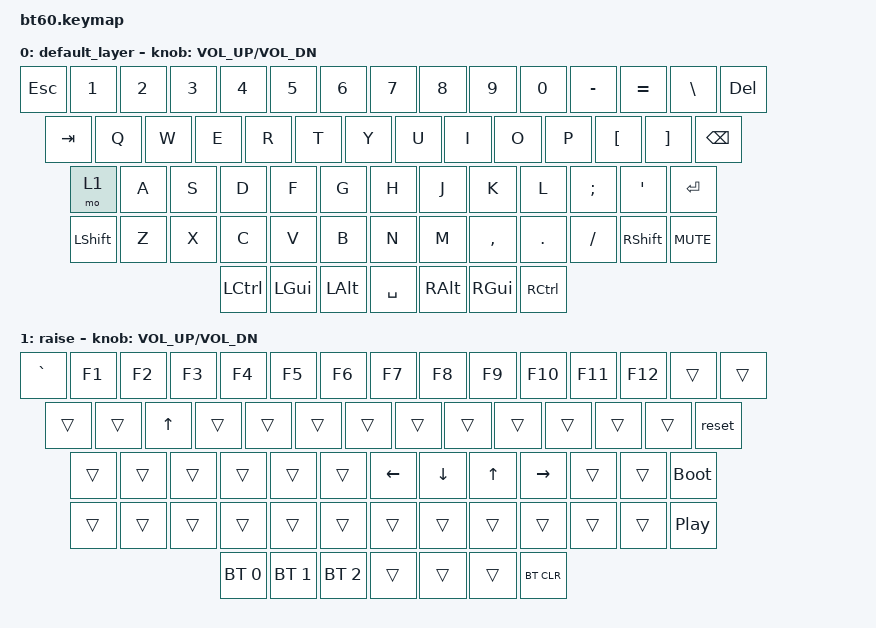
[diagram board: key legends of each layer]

/*
 * Copyright (c) 2020 The ZMK Contributors
 *
 * SPDX-License-Identifier: MIT
 */


/* THIS FILE WAS GENERATED!
 *
 * This file was generated automatically. You may or may not want to
 * edit it directly.
 */

#include <behaviors.dtsi>
#include <dt-bindings/zmk/keys.h>

#include <dt-bindings/zmk/bt.h>

&lt {
    tapping-term-ms = <100>;
};

/ {
    keymap {
        compatible = "zmk,keymap";

		default_layer {
				// ------------------------------------------------------------------------------------------
				// | ESC |  1  |  2  |  3  |  4  |  5  |  6  |  7  |  8  |  9  |  0  |  -  |  =  |  \ | DEL |
				// | TAB  |  Q  |  W  |  E  |  R  |  T  |  Y  |  U  |  I  |  O  |  P  |  [  |  ]  |  BKSP   |
				// | CAPS  |  A  |  S  |  D  |  F  |  G  |  H  |  J  |  K  |  L  |  ;  |  '  |     ENTER    |
				// |  SHIFT    |  Z  |  X  |  C  |  V  |  B  |  N  |  M  |  ,  |  .  | /   |      SHIFT     |
				// |  CTL  |  WIN  |  ALT  |            SPACE               |  FN  |  ALT  |  WIN  |  CTRL  |
				// ------------------------------------------------------------------------------------------
			bindings = <
				&kp ESC &kp N1 &kp N2 &kp N3 &kp N4 &kp N5 &kp N6 &kp N7 &kp  N8   &kp  N9 &kp  N0  &kp MINUS &kp EQUAL &kp BSLH &kp DEL
				&kp TAB  &kp Q  &kp W  &kp E  &kp R  &kp T  &kp Y  &kp U  &kp  I    &kp  O  &kp  P   &kp LBKT &kp RBKT  &kp BSPC
				&mo 1     &kp A  &kp S  &kp D  &kp F  &kp G  &kp H  &kp J  &kp  K    &kp  L  &kp SEMI &kp SQT           &kp RET
				&kp LSHFT  &kp Z  &kp X  &kp C  &kp V  &kp B  &kp N  &kp M  &kp COMMA &kp DOT &kp FSLH             &kp RSHFT	&kp C_MUTE
				&kp LCTRL &kp LGUI &kp LALT            &kp SPACE                                           &kp RALT &kp RGUI &kp RCTRL
			>;
			sensor-bindings = <&inc_dec_kp C_VOL_UP C_VOL_DN>;
		};
		raise {
			bindings = <
				&kp GRAVE &kp F1 &kp F2 &kp F3 &kp F4 &kp F5 &kp F6 &kp F7 &kp  F8   &kp  F9 &kp  F10  &kp F11 &kp F12 &trans &trans
				&trans &trans &kp UP &trans &trans &trans &trans &trans &trans &trans &trans &trans &trans &reset
				&trans &trans &trans &trans &trans &trans &kp LEFT &kp DOWN &kp UP &kp RIGHT &trans  &trans   &bootloader
				&trans &trans &trans &trans &trans &trans &trans &trans &trans &trans &trans  				&trans &kp C_PLAY_PAUSE
				&bt BT_SEL 0 &bt BT_SEL 1 &bt BT_SEL 2     &trans                                           &trans &trans &bt BT_CLR
			>;
			sensor-bindings = <&inc_dec_kp C_VOL_UP C_VOL_DN>;
		};
	};
};
